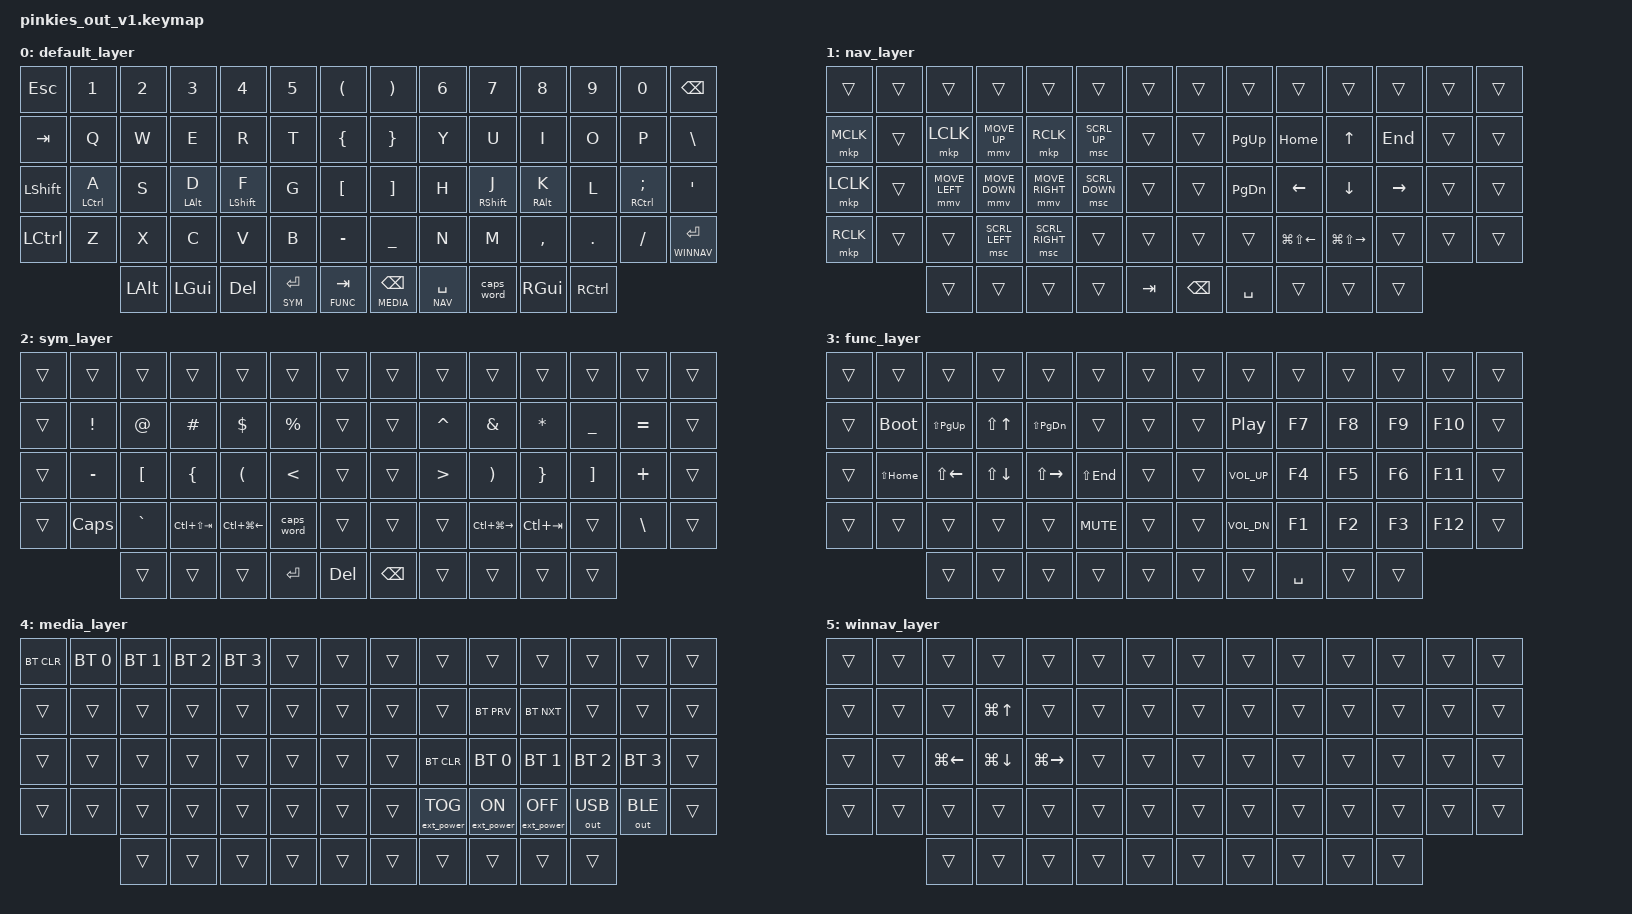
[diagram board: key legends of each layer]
#include <behaviors.dtsi>
#include <dt-bindings/zmk/keys.h>
#include <dt-bindings/zmk/bt.h>
#include <dt-bindings/zmk/ext_power.h>
#include <dt-bindings/zmk/outputs.h>
#include <dt-bindings/zmk/mouse.h>
#include <behaviors/mouse_keys.dtsi>

#define ZMK_POINTING_DEFAULT_MOVE_VAL 1500  // default: 600
#define ZMK_POINTING_DEFAULT_SCRL_VAL 20    // default: 10
#include <dt-bindings/zmk/pointing.h>

#define DEFAULT 0
#define NAV     1
#define SYM     2
#define FUNC    3
#define MEDIA   4
#define WINNAV  5

&caps_word {
    continue-list = <UNDERSCORE MINUS>;
};

/ {
    combos {
        compatible = "zmk,combos";
        combo_undo {
            timeout-ms = <50>;
            key-positions = <44 45>;
            bindings = <&kp LC(Z)>;
        };
    };
};

/ {
    behaviors {
        hm: homerow_mods {
            compatible = "zmk,behavior-hold-tap";
            #binding-cells = <2>;
            tapping-term-ms = <200>;
            flavor = "tap-preferred";
            bindings = <&kp>, <&kp>;
        };
        hs: homerow_shift {
            compatible = "zmk,behavior-hold-tap";
            #binding-cells = <2>;
            tapping-term-ms = <175>;
            flavor = "balanced";
            bindings = <&kp>, <&kp>;
        };
        lt: layer_tap {
            // Adjust the value below (in milliseconds) to make it faster or slower
            tapping-term-ms = <150>; 
        };
    };


    keymap {
        compatible = "zmk,keymap";

        default_layer {
            bindings = <
    &kp ESC    &kp N1      &kp N2      &kp N3      &kp N4        &kp N5       &kp LPAR             &kp RPAR        &kp N6         &kp N7        &kp N8        &kp N9      &kp N0         &kp BSPC
    &kp TAB    &kp Q       &kp W       &kp E       &kp R         &kp T        &kp LBRC             &kp RBRC        &kp Y          &kp U         &kp I         &kp O       &kp P          &kp BSLH
    &kp LSHFT  &hm LCTL A  &kp S       &hm LALT D  &hs LSHIFT F  &kp G        &kp LBKT             &kp RBKT        &kp H          &hs RSHIFT J  &hm RALT K    &kp L       &hm RCTL SEMI  &kp SQT
    &kp LCTL   &kp Z       &kp X       &kp C       &kp V         &kp B        &kp MINUS            &kp UNDERSCORE  &kp N          &kp M         &kp COMMA     &kp DOT     &kp FSLH       &lt WINNAV RET
                           &kp LALT    &kp LGUI    &kp DEL       &lt SYM RET  &lt FUNC TAB         &lt MEDIA BSPC  &lt NAV SPACE  &caps_word    &kp RGUI      &kp RCTL
            >;
        };

        nav_layer {
            bindings = <
    &trans     &trans       &trans         &trans         &trans          &trans         &trans               &trans     &trans        &trans           &trans            &trans      &trans      &trans
    &mkp MCLK  &trans       &mkp LCLK      &mmv MOVE_UP   &mkp RCLK       &msc SCRL_UP   &trans               &trans     &kp PG_UP     &kp HOME         &kp UP            &kp END     &trans      &trans
    &mkp LCLK  &trans       &mmv MOVE_LEFT &mmv MOVE_DOWN &mmv MOVE_RIGHT &msc SCRL_DOWN &trans               &trans     &kp PG_DN     &kp LEFT         &kp DOWN          &kp RIGHT   &trans      &trans
    &mkp RCLK  &trans       &trans         &msc SCRL_LEFT &msc SCRL_RIGHT &trans         &trans               &trans     &trans        &kp LG(LS(LEFT)) &kp LG(LS(RIGHT)) &trans      &trans      &trans
                            &trans         &trans         &trans          &trans         &kp TAB              &kp BSPC   &kp SPACE     &trans           &trans            &trans
            >;
        };

        sym_layer {
            bindings = <
    &trans     &trans       &trans       &trans          &trans           &trans        &trans         &trans         &trans        &trans            &trans        &trans      &trans      &trans
    &trans     &kp EXCL     &kp AT       &kp HASH        &kp DLLR         &kp PRCNT     &trans         &trans         &kp CARET     &kp AMPS          &kp ASTRK     &kp UNDER   &kp EQUAL   &trans
    &trans     &kp MINUS    &kp LBKT     &kp LBRC        &kp LPAR         &kp LT        &trans         &trans         &kp GT        &kp RPAR          &kp RBRC      &kp RBKT    &kp PLUS    &trans
    &trans     &kp CAPS     &kp GRAVE    &kp LC(LS(TAB)) &kp LC(LG(LEFT)) &caps_word    &trans         &trans         &trans        &kp LC(LG(RIGHT)) &kp LC(TAB)   &trans      &kp BSLH    &trans
                            &trans       &trans          &trans           &kp RET       &kp DEL        &kp BSPC       &trans        &trans            &trans        &trans
            >;
        };

        func_layer {
            bindings = <
    &trans     &trans       &trans        &trans       &trans        &trans        &trans             &trans     &trans           &trans       &trans        &trans      &trans      &trans
    &trans     &bootloader  &kp LS(PG_UP) &kp LS(UP)   &kp LS(PG_DN) &trans        &trans             &trans     &kp C_PLAY_PAUSE &kp F7       &kp F8        &kp F9      &kp F10     &trans
    &trans     &kp LS(HOME) &kp LS(LEFT)  &kp LS(DOWN) &kp LS(RIGHT) &kp LS(END)   &trans             &trans     &kp K_VOL_UP     &kp F4       &kp F5        &kp F6      &kp F11     &trans
    &trans     &trans       &trans        &trans       &trans        &kp C_MUTE    &trans             &trans     &kp K_VOL_DN     &kp F1       &kp F2        &kp F3      &kp F12     &trans
                            &trans        &trans       &trans        &trans        &trans             &trans     &trans           &kp SPACE    &trans        &trans
            >;
        };

        media_layer {
            bindings = <
    &bt BT_CLR &bt BT_SEL 0 &bt BT_SEL 1   &bt BT_SEL 2 &bt BT_SEL 3  &trans        &trans             &trans     &trans             &trans            &trans             &trans         &trans          &trans
    &trans     &trans       &trans         &trans       &trans        &trans        &trans             &trans     &trans             &bt BT_PRV        &bt BT_NXT         &trans         &trans          &trans
    &trans     &trans       &trans         &trans       &trans        &trans        &trans             &trans     &bt BT_CLR         &bt BT_SEL 0      &bt BT_SEL 1       &bt BT_SEL 2   &bt BT_SEL 3    &trans
    &trans     &trans       &trans         &trans       &trans        &trans        &trans             &trans     &ext_power EP_TOG  &ext_power EP_ON  &ext_power EP_OFF  &out OUT_USB   &out OUT_BLE    &trans
                            &trans         &trans       &trans        &trans        &trans             &trans     &trans             &trans            &trans             &trans
            >;
        };

        winnav_layer {
            bindings = <
    &trans     &trans       &trans       &trans       &trans        &trans        &trans             &trans     &trans      &trans      &trans      &trans      &trans      &trans
    &trans     &trans       &trans       &kp LG(UP)   &trans        &trans        &trans             &trans     &trans      &trans      &trans      &trans      &trans      &trans
    &trans     &trans       &kp LG(LEFT) &kp LG(DOWN) &kp LG(RIGHT) &trans        &trans             &trans     &trans      &trans      &trans      &trans      &trans      &trans
    &trans     &trans       &trans       &trans       &trans        &trans        &trans             &trans     &trans      &trans      &trans      &trans      &trans      &trans
                            &trans       &trans       &trans        &trans        &trans             &trans     &trans      &trans      &trans      &trans
            >;
        };
    };
};
